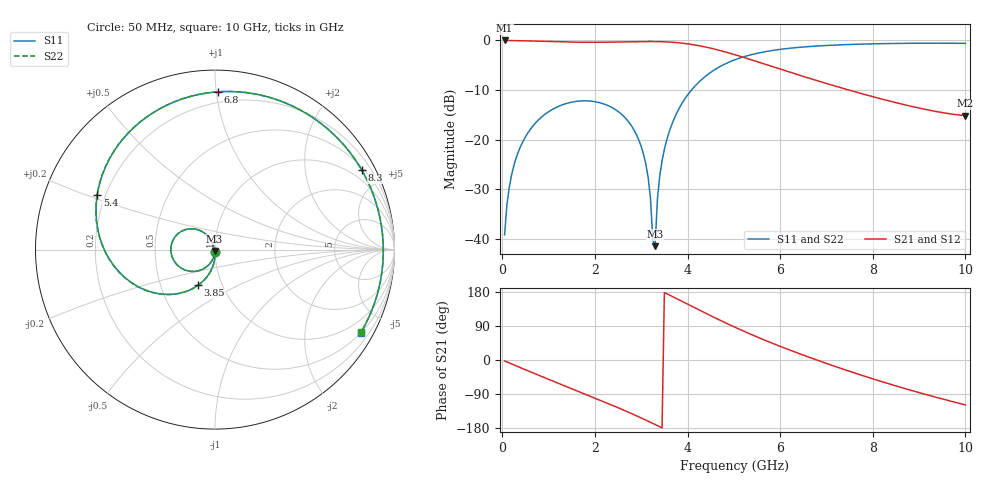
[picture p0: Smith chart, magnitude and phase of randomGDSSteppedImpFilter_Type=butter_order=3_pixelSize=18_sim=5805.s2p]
! freq	dB(S11)	phase(S11)	dB(S12)	phase(S12)
!  dB(S21)	phase(S21)	dB(S22)	phase(S22)
!S-par simulation data
#  GHz  S  DB  R 50
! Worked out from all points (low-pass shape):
!   200 points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, 50 MHz to 10 GHz, reference 50 ohm
!   highest |S21| = 0.00 dB at 50 MHz (marker M1); lowest = -15.2 dB at 10 GHz (marker M2)
!   |S21| within 3 dB of the highest: start of sweep to 5.067 GHz
!   lowest |S11| = -41.5 dB at 3.3 GHz (marker M3), VSWR 1.02, Z = 49.8 - j0.806 ohm
!   |S11| at or under -10 dB: start of sweep to 4.086 GHz
!   |S22| runs from -41.4 to -0.6 dB; largest |S21 - S12| = 0
!   S11 on the Smith chart (normalised r, x): 50 MHz: 1.00, -0.02; 3.85 GHz: 0.77, -0.32; 5.4 GHz: 0.17, +0.21; 6.8 GHz: 0.13, +1.01; 8.3 GHz: 0.59, +3.87; 10 GHz: 0.50, -3.70
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0.05  -39.20 -92.7  -0.00 -2.6  -0.00 -2.6  -39.21 -92.8
0.2  -27.14 -100.7  -0.03 -10.4  -0.03 -10.4  -27.14 -100.7
0.5  -19.44 -116.2  -0.08 -25.8  -0.08 -25.8  -19.44 -116.1
1.15  -13.57 -149.1  -0.26 -58.5  -0.26 -58.5  -13.57 -149.1
1.75  -12.18 -178.8  -0.37 -88.1  -0.37 -88.1  -12.18 -178.7
2.45  -13.99 146.2  -0.32 -123.3  -0.32 -123.3  -13.99 146.4
2.9  -19.06 123.0  -0.24 -147.4  -0.24 -147.4  -19.06 123.1
3.15  -27.68 111.8  -0.22 -161.5  -0.22 -161.5  -27.68 112.0
3.25  -40.25 122.1  -0.22 -167.2  -0.22 -167.2  -40.24 122.6
3.3  -41.49 -105.9  -0.23 -170.1  -0.23 -170.1  -41.45 -106.1
3.35  -31.95 -91.9  -0.23 -173.1  -0.23 -173.1  -31.94 -91.8
3.4  -27.33 -91.7  -0.25 -176.0  -0.25 -176.0  -27.33 -91.6
3.55  -20.09 -98.2  -0.30 175.0  -0.30 175.0  -20.09 -98.0
3.85  -13.18 -115.3  -0.52 156.7  -0.52 156.7  -13.18 -115.2
4.45  -6.77 -151.5  -1.45 119.9  -1.45 119.9  -6.77 -151.3
5.05  -3.80 173.9  -2.96 85.0  -2.96 85.0  -3.80 174.2
5.4  -2.82 155.2  -3.97 66.1  -3.97 66.1  -2.82 155.5
6.7  -1.18 93.4  -7.83 3.9  -7.83 3.9  -1.18 93.8
6.8  -1.12 89.0  -8.12 -0.5  -8.12 -0.5  -1.12 89.4
8.3  -0.63 28.4  -12.08 -61.1  -12.08 -61.1  -0.63 28.8
8.35  -0.62 26.5  -12.20 -62.9  -12.20 -62.9  -0.62 26.9
10  -0.59 -29.8  -15.17 -118.5  -15.17 -118.5  -0.59 -29.5
